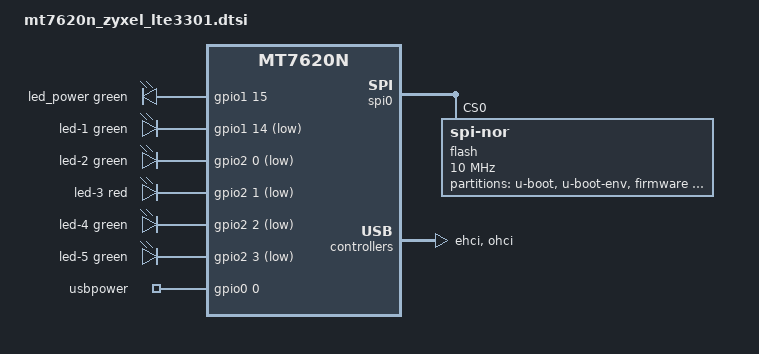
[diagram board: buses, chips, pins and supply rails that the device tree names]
#include "mt7620n.dtsi"

#include <dt-bindings/gpio/gpio.h>
#include <dt-bindings/leds/common.h>
#include <dt-bindings/input/input.h>

/ {
	chosen {
		bootargs = "console=ttyS0,115200";
	};

	aliases {
		led-boot = &led_power;
		led-failsafe = &led_power;
		led-running = &led_power;
		led-upgrade = &led_power;
	};

	leds {
		compatible = "gpio-leds";

		led_power: led-0 {
			color = <LED_COLOR_ID_GREEN>;
			function = LED_FUNCTION_POWER;
			gpios = <&gpio1 15 GPIO_ACTIVE_HIGH>;
		};

		led-1 {
			color = <LED_COLOR_ID_GREEN>;
			function = LED_FUNCTION_WAN;
			gpios = <&gpio1 14 GPIO_ACTIVE_LOW>;
		};

		/*
		 * Pads 40-43 are the front LEDs (signal bars, LTE, switch).
		 * They need defined levels from gpio-leds: in EPHY mode the
		 * switch drives them, which also touches the modem strap
		 * lines. Pin 72 is deliberately left unclaimed, driving it
		 * keeps the modem from enumerating.
		 */
		led-2 {
			color = <LED_COLOR_ID_GREEN>;
			function = LED_FUNCTION_MOBILE;
			gpios = <&gpio2 0 GPIO_ACTIVE_LOW>;
		};

		led-3 {
			color = <LED_COLOR_ID_RED>;
			function = LED_FUNCTION_MOBILE;
			gpios = <&gpio2 1 GPIO_ACTIVE_LOW>;
		};

		led-4 {
			color = <LED_COLOR_ID_GREEN>;
			function = "lte";
			gpios = <&gpio2 2 GPIO_ACTIVE_LOW>;
		};

		led-5 {
			color = <LED_COLOR_ID_GREEN>;
			function = LED_FUNCTION_LAN;
			gpios = <&gpio2 3 GPIO_ACTIVE_LOW>;
		};
	};

	/*
	 * No gpio-keys here: pin 2 (WPS) has to stay unclaimed, the modem
	 * stops enumerating as soon as anything else on the port is driven.
	 * The modem only needs the usbpower switch below.
	 */

	gpio-export {
		compatible = "gpio-export";
		#size-cells = <0>;

		usbpower {
			gpio-export,name = "usbpower";
			gpio-export,output = <1>;
			gpios = <&gpio0 0 0>;
		};
	};

};

&gpio1 {
	status = "okay";
};

&gpio2 {
	status = "okay";
};

&gpio3 {
	status = "okay";
};

&spi0 {
	status = "okay";

	flash@0 {
		compatible = "jedec,spi-nor";
		reg = <0>;
		spi-max-frequency = <10000000>;

		partitions {
			compatible = "fixed-partitions";
			#address-cells = <1>;
			#size-cells = <1>;

			partition@0 {
				label = "u-boot";
				reg = <0x0 0x30000>;
				read-only;
			};

			partition@30000 {
				/* writable on purpose: uboot-envtools (fw_setenv) */
				label = "u-boot-env";
				reg = <0x30000 0x10000>;
			};

			partition@40000 {
				compatible = "denx,fit";
				label = "firmware";
				reg = <0x40000 0xFB0000>;
			};

			config: partition@ff0000 {
				label = "config";
				reg = <0xff0000 0x10000>;
				read-only;

				/*
				 * The base MAC sits at a different offset per
				 * hardware variant, so the cell itself is
				 * added by the including board file.
				 */
				config_nvmem: nvmem-layout {
					compatible = "fixed-layout";
					#address-cells = <1>;
					#size-cells = <1>;
				};
			};
		};
	};

};

&ehci {
	status = "okay";
};

&ohci {
	status = "okay";
};

&ethernet {
	mediatek,portmap = "llllw";
};

/*
 * GPIO1_MODE (0x10000060) bits that have to be in GPIO mode for this board,
 * and the group that owns each of them:
 *   bit 2-4   uartf       pads 7-14 unused here, keep them as gpio
 *   bit 12    spi refclk  pads 37-39 (power/wan LED) - already gpio at reset
 *   bit 13    wled        pad 72 (LTE globe) - already gpio at reset; the pad
 *                         itself stays unclaimed, driving it kills the modem
 *   bit 15    ephy        pads 40-44, otherwise the ESW blinks the front LEDs
 *                         and drives the modem strap lines
 *   bit 21-22 wdt         0 at reset (watchdog reset on pad 17); the stock
 *                         firmware selects gpio, and the extra board LEDs
 *                         only work with it
 */
&state_default {
	default {
		groups = "uartf", "spi refclk", "wled", "ephy", "wdt";
		function = "gpio";
	};
};
